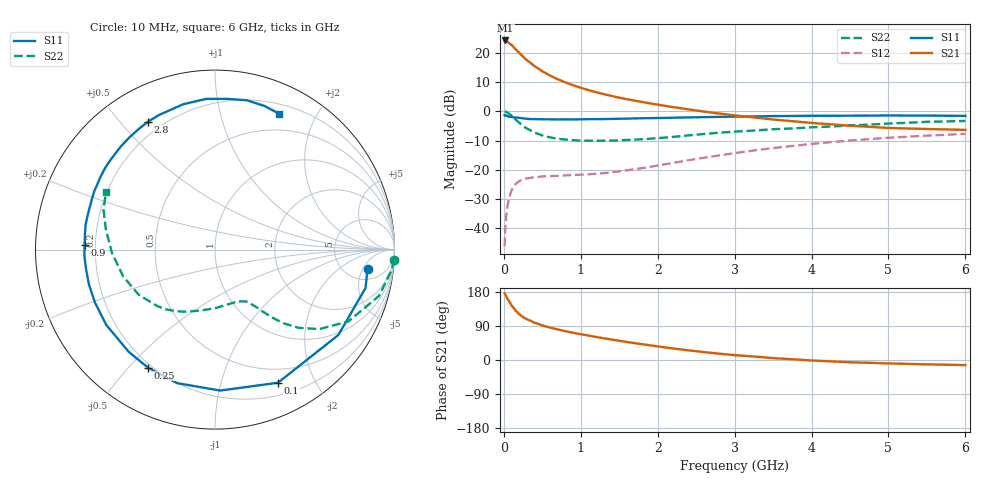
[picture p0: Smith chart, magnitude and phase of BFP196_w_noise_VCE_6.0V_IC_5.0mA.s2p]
! Infineon Technologies  Discrete & RF Semiconductors
! BFP196
! VCE =  6.0 V,  IC =  5.0 mA
! Common Emitter S-Parameters:  Jan 2017
# GHz  S  MA  R  50
!  f  S11  S21  S12  S22
! GHz  MAG  ANG  MAG  ANG  MAG  ANG  MAG  ANG
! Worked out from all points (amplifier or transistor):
!   77 points, 10 MHz to 6 GHz, reference 50 ohm
!   highest |S21| = 24.3 dB at 20 MHz (marker M1)
!   |S21| within 3 dB of that: start of sweep to 153.7 MHz
!   unconditionally stable (mu >= 1): 1.191 GHz to 2.346 GHz
!   at 130 MHz: K = 0.14, MSG = 23.8 dB, |S12| = -25.8 dB
!   at 2.2 GHz: K = 1.04, MAG = 8.4 dB, |S12| = -17.7 dB
!   at 6 GHz: K = 0.94, MSG = 0.7 dB, |S12| = -7.7 dB
!   lowest NFmin = 1.01 dB at 450 MHz
!   S11 on the Smith chart (normalised r, x): 10 MHz: 8, -6; 100 MHz: 0.34, -1.53; 250 MHz: 0.18, -0.57; 900 MHz: 0.16, +0.02; 2.8 GHz: 0.15, +0.60; 6 GHz: 0.30, +1.53
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0.01  0.8567 -7.2  16.19 176.1  0.0049 87.3  1 -3.2
0.02  0.8655 -14.3  16.36 172.2  0.0104 85.9  0.9903 -6.6
0.05  0.8359 -34.7  15.52 160.5  0.0254 72.6  0.9501 -15.7
0.1  0.8205 -64.7  13.77 144.0  0.0441 58.6  0.8443 -28.3
0.15  0.7858 -87.9  11.72 130.9  0.0567 47.5  0.7307 -37.3
0.2  0.7734 -105.8  10.03 121.1  0.0638 40.5  0.638 -43.1
0.25  0.7563 -119.6  8.629 113.1  0.0684 35.7  0.5638 -46.9
0.3  0.7453 -130.2  7.504 107.4  0.071 32.0  0.5063 -49.4
0.4  0.7368 -145.3  5.926 98.2  0.0745 28.0  0.4317 -52.6
0.5  0.7311 -156.3  4.852 91.3  0.0768 26.4  0.3863 -54.8
0.6  0.7287 -164.6  4.111 85.6  0.0778 25.5  0.358 -56.9
0.7  0.7265 -171.2  3.548 80.7  0.0782 26.1  0.3389 -58.8
0.9  0.7272 177.8  2.794 71.9  0.0809 28.9  0.3206 -64.0
1.1  0.7342 169.0  2.311 64.4  0.0834 32.2  0.3133 -69.9
1.3  0.7367 161.4  1.969 57.3  0.0873 36.0  0.3136 -76.6
1.5  0.7469 154.4  1.715 50.8  0.0937 40.5  0.3179 -84.0
2.1  0.772 135.4  1.239 33.2  0.1243 48.9  0.3555 -106.4
2.8  0.8046 117.5  0.917 16.6  0.1759 49.8  0.4308 -129.4
3.1  0.8133 110.6  0.824 11.4  0.2006 47.6  0.4563 -138.5
4.1  0.84 91.7  0.619 -2.2  0.284 37.0  0.5385 -166.8
5.1  0.8488 76.6  0.515 -9.5  0.3585 23.4  0.6251 167.6
6  0.8372 64.8  0.481 -13.5  0.411 11.2  0.6851 152.1
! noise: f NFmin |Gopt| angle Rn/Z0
0.45  1.01  0.42  127  0.08
0.9  1.47  0.55  170  0.06
1.9  2.9  0.74  -142  0.31
2.4  3.55  0.76  -125  0.95
